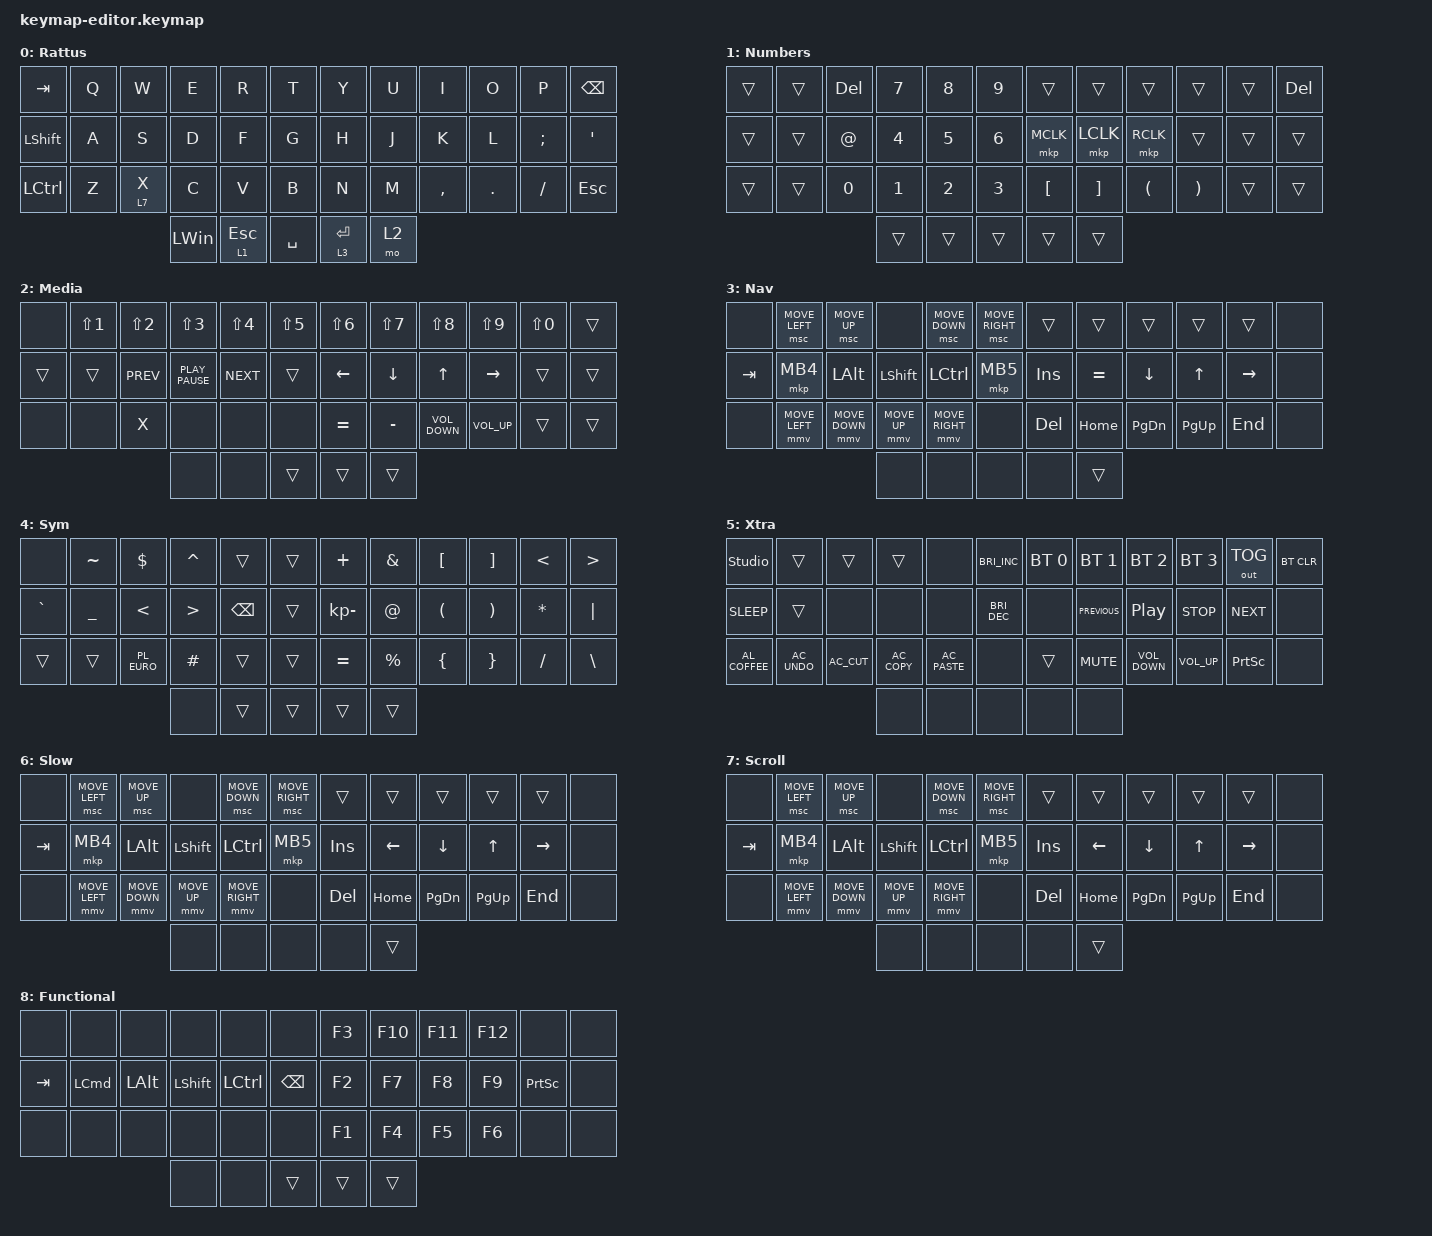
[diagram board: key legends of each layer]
/* upstream bindings and behaviors */

#include <dt-bindings/zmk/mouse.h>
#include <behaviors/mouse_keys.dtsi>
#include <behaviors.dtsi>
#include <dt-bindings/zmk/bt.h>
#include <dt-bindings/zmk/keys.h>
#include <dt-bindings/zmk/outputs.h>
#include <dt-bindings/zmk/pointing.h>

/* local overlays */

#include "keys_ru.h"
#include "keys_pl.h"
#include "macros.dtsi"
#include "behaviors.dtsi"
#include "combos.dtsi"

/ {
    /* --- KEYMAP CONFIG --- */
    // ╭──────┬──────┬──────┬──────┬──────┬──────╮  ╭──────┬──────┬──────┬──────┬──────┬──────╮
    //    00     01     02     03    04      05        06     07     08     09     10     11
    // ├──────┼──────┼──────┼──────┼──────┼──────┤  ├──────┼──────┼──────┼──────┼──────┼──────┤
    //    12     13     14     15    16      17        18     19     20     21     22     23
    // ├──────┼──────┼──────┼──────┼──────┼──────┤  ├──────┼──────┼──────┼──────┼──────┼──────┤
    //    24     25     26     27    28      29        30     31     32     33     34     35
    // ╰──────┴──────┴──────┼──────┼──────┼──────┤  ├──────┼──────┼──────┴──────┴──────┴──────╯
    //                         36     37     38        39     40
    //                      ╰──────┴──────┴──────╯  ╰──────┴──────╯
    // #define BASE    0
    // #define NUM     1
    // #define NAV     2
    // #define SYM     3
    // #define GAME    4
    // #define EXTRAS  5
    // #define SLOW    6
    // #define SCROLL  7

    keymap {
        compatible = "zmk,keymap";

        Base {
            display-name = "Rattus";
            bindings = <
&kp TAB         &kp Q  &kp W    &kp E         &kp R      &kp T        &kp Y        &kp U  &kp I      &kp O       &kp P     &kp BACKSPACE
&kp LEFT_SHIFT  &kp A  &kp S    &kp D         &kp F      &kp G        &kp H        &kp J  &kp K      &kp L       &kp SEMI  &kp APOS
&kp LCTRL       &kp Z  &lt 7 X  &kp C         &kp V      &kp B        &kp N        &kp M  &kp COMMA  &kp PERIOD  &kp FSLH  &kp ESC
                                &kp LEFT_WIN  &lt 1 ESC  &kp SPACE    &lt 3 ENTER  &mo 2
            >;
        };

        NUM {
            display-name = "Numbers";
            bindings = <
&trans  &trans  &kp DEL       &kp N7        &kp NUMBER_8  &kp NUMBER_9    &trans            &trans             &trans                &trans                 &trans  &kp DELETE
&trans  &trans  &kp AT        &kp NUMBER_4  &kp N5        &kp NUMBER_6    &mkp MCLK         &mkp LCLK          &mkp RCLK             &trans                 &trans  &trans
&trans  &trans  &kp NUMBER_0  &kp NUMBER_1  &kp NUMBER_2  &kp NUMBER_3    &kp LEFT_BRACKET  &kp RIGHT_BRACKET  &kp LEFT_PARENTHESIS  &kp RIGHT_PARENTHESIS  &trans  &trans
                              &trans        &trans        &trans          &trans            &trans
            >;
        };

        NAV {
            display-name = "Media";
            bindings = <
&none   &kp LS(NUMBER_1)  &kp LS(NUMBER_2)  &kp LS(NUMBER_3)  &kp LS(NUMBER_4)  &kp LS(NUMBER_5)    &kp LS(NUMBER_6)  &kp LS(NUMBER_7)  &kp LS(NUMBER_8)   &kp LS(NUMBER_9)  &kp LS(NUMBER_0)  &trans
&trans  &trans            &kp K_PREV        &kp K_PLAY_PAUSE  &kp K_NEXT        &trans              &kp LEFT          &kp DOWN          &kp UP             &kp RIGHT         &trans            &trans
&none   &none             &kp X             &none             &none             &none               &kp EQUAL         &kp MINUS         &kp C_VOLUME_DOWN  &kp C_VOLUME_UP   &trans            &trans
                                            &none             &none             &trans              &trans            &trans
            >;
        };

        SYM {
            display-name = "Nav";
            bindings = <
&none    &msc MOVE_LEFT  &msc MOVE_UP    &none         &msc MOVE_DOWN   &msc MOVE_RIGHT    &trans      &trans     &trans     &trans     &trans           &none
&kp TAB  &mkp MB4        &kp LALT        &kp LSHFT     &kp LCTRL        &mkp MB5           &kp INSERT  &kp EQUAL  &kp DOWN   &kp UP     &kp RIGHT_ARROW  &none
&none    &mmv MOVE_LEFT  &mmv MOVE_DOWN  &mmv MOVE_UP  &mmv MOVE_RIGHT  &none              &kp DELETE  &kp HOME   &kp PG_DN  &kp PG_UP  &kp END          &none
                                         &none         &none            &none              &none       &trans
            >;
        };

        GAME {
            display-name = "Sym";
            bindings = <
&none      &kp TILDE  &kp DLLR     &kp CARET  &trans         &trans    &kp PLUS      &kp AMPS   &kp LBKT  &kp RBKT  &kp LT     &kp GT
&kp GRAVE  &kp UNDER  &kp LT       &kp GT     &kp BACKSPACE  &trans    &kp KP_MINUS  &kp AT     &kp LPAR  &kp RPAR  &kp ASTRK  &kp PIPE
&trans     &trans     &kp PL_EURO  &kp HASH   &trans         &trans    &kp EQUAL     &kp PRCNT  &kp LBRC  &kp RBRC  &kp FSLH   &kp BSLH
                                   &none      &trans         &trans    &trans        &trans
            >;
        };

        EXTRAS {
            display-name = "Xtra";
            bindings = <
&studio_unlock   &trans         &trans        &trans         &none           &kp C_BRIGHTNESS_INC    &bt BT_SEL 0  &bt BT_SEL 1    &bt BT_SEL 2       &bt BT_SEL 3     &out OUT_TOG     &bt BT_CLR
&kp C_SLEEP      &trans         &none         &none          &none           &kp C_BRIGHTNESS_DEC    &none         &kp C_PREVIOUS  &kp C_PLAY_PAUSE   &kp C_STOP       &kp C_NEXT       &none
&kp C_AL_COFFEE  &kp C_AC_UNDO  &kp C_AC_CUT  &kp C_AC_COPY  &kp C_AC_PASTE  &none                   &trans        &kp K_MUTE      &kp C_VOLUME_DOWN  &kp C_VOLUME_UP  &kp PRINTSCREEN  &none
                                              &none          &none           &none                   &none         &none
            >;
        };

        SLOW {
            display-name = "Slow";
            bindings = <
&none    &msc MOVE_LEFT  &msc MOVE_UP    &none         &msc MOVE_DOWN   &msc MOVE_RIGHT    &trans      &trans          &trans     &trans     &trans           &none
&kp TAB  &mkp MB4        &kp LALT        &kp LSHFT     &kp LCTRL        &mkp MB5           &kp INSERT  &kp LEFT_ARROW  &kp DOWN   &kp UP     &kp RIGHT_ARROW  &none
&none    &mmv MOVE_LEFT  &mmv MOVE_DOWN  &mmv MOVE_UP  &mmv MOVE_RIGHT  &none              &kp DELETE  &kp HOME        &kp PG_DN  &kp PG_UP  &kp END          &none
                                         &none         &none            &none              &none       &trans
            >;
        };

        SCROLL {
            display-name = "Scroll";
            bindings = <
&none    &msc MOVE_LEFT  &msc MOVE_UP    &none         &msc MOVE_DOWN   &msc MOVE_RIGHT    &trans      &trans          &trans     &trans     &trans           &none
&kp TAB  &mkp MB4        &kp LALT        &kp LSHFT     &kp LCTRL        &mkp MB5           &kp INSERT  &kp LEFT_ARROW  &kp DOWN   &kp UP     &kp RIGHT_ARROW  &none
&none    &mmv MOVE_LEFT  &mmv MOVE_DOWN  &mmv MOVE_UP  &mmv MOVE_RIGHT  &none              &kp DELETE  &kp HOME        &kp PG_DN  &kp PG_UP  &kp END          &none
                                         &none         &none            &none              &none       &trans
            >;
        };

        FUNC {
            display-name = "Functional";
            bindings = <
&none    &none     &none     &none       &none      &none            &kp F3  &kp F10  &kp F11  &kp F12  &none            &none
&kp TAB  &kp LCMD  &kp LALT  &kp LSHIFT  &kp LCTRL  &kp BACKSPACE    &kp F2  &kp F7   &kp F8   &kp F9   &kp PRINTSCREEN  &none
&none    &none     &none     &none       &none      &none            &kp F1  &kp F4   &kp F5   &kp F6   &none            &none
                             &none       &none      &trans           &trans  &trans
            >;
        };
    };
};
